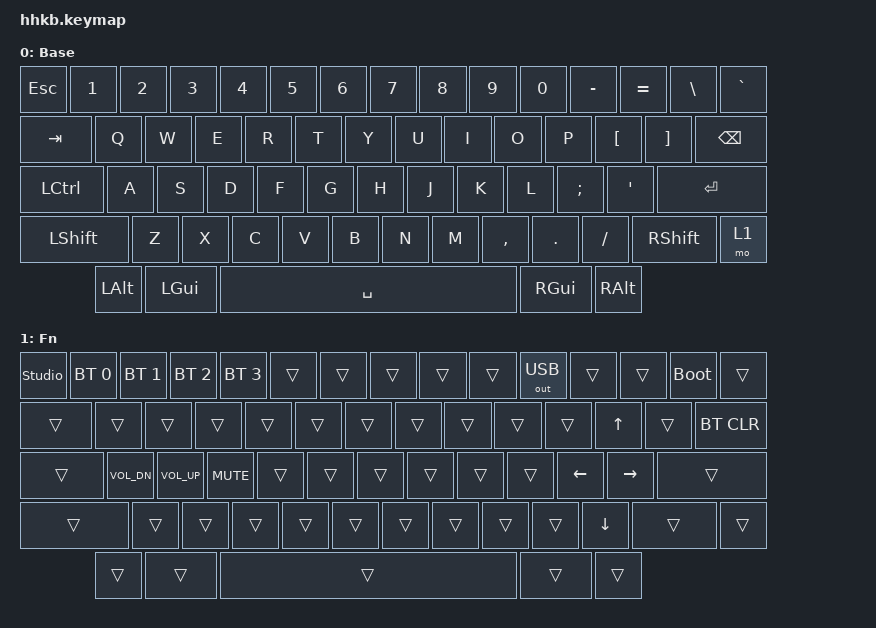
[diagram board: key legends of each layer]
/*
 * HHKB Low-Profile – ZMK Keymap
 *
 * Layer 0: Default HHKB layout
 * Layer 1: Fn layer (BLE profiles, USB, arrows, volume, bootloader)
 */

#include <behaviors.dtsi>
#include <dt-bindings/zmk/keys.h>
#include <dt-bindings/zmk/bt.h>
#include <dt-bindings/zmk/outputs.h>

/ {
    keymap {
        compatible = "zmk,keymap";

        default_layer {
            display-name = "Base";
            bindings = <
/*  Row 0 */ &kp ESC   &kp N1    &kp N2    &kp N3    &kp N4    &kp N5    &kp N6    &kp N7    &kp N8    &kp N9    &kp N0    &kp MINUS &kp EQUAL &kp BSLH  &kp GRAVE
/*  Row 1 */ &kp TAB   &kp Q     &kp W     &kp E     &kp R     &kp T     &kp Y     &kp U     &kp I     &kp O     &kp P     &kp LBKT  &kp RBKT            &kp BSPC
/*  Row 2 */ &kp LCTRL           &kp A     &kp S     &kp D     &kp F     &kp G     &kp H     &kp J     &kp K     &kp L     &kp SEMI  &kp SQT   &kp RET
/*  Row 3 */           &kp LSHFT &kp Z     &kp X     &kp C     &kp V     &kp B     &kp N     &kp M     &kp COMMA &kp DOT   &kp FSLH            &kp RSHFT &mo 1
/*  Row 4 */                     &kp LALT  &kp LGUI                      &kp SPACE                     &kp RGUI            &kp RALT
            >;
        };

        fn_layer {
            display-name = "Fn";
            bindings = <
/*  Row 0 */ &studio_unlock &bt BT_SEL 0 &bt BT_SEL 1 &bt BT_SEL 2 &bt BT_SEL 3 &trans &trans &trans &trans &trans &out OUT_USB &trans &trans &bootloader &trans
/*  Row 1 */ &trans    &trans    &trans    &trans    &trans    &trans    &trans    &trans    &trans    &trans    &trans    &kp UP    &trans              &bt BT_CLR
/*  Row 2 */ &trans              &kp C_VOL_DN &kp C_VOL_UP &kp C_MUTE &trans &trans &trans &trans &trans &trans &kp LEFT  &kp RIGHT &trans
/*  Row 3 */           &trans    &trans    &trans    &trans    &trans    &trans    &trans    &trans    &trans    &trans    &kp DOWN            &trans    &trans
/*  Row 4 */                     &trans    &trans                        &trans                        &trans              &trans
            >;
        };
    };
};
